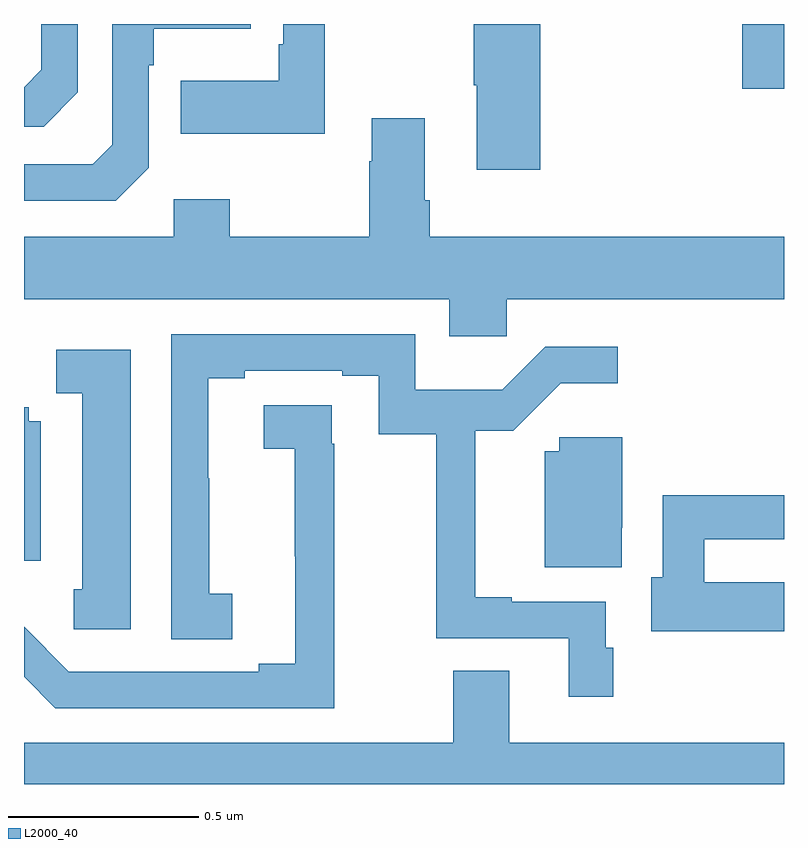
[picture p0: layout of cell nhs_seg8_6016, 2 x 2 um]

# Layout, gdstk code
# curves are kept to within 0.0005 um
import gdstk
lib = gdstk.Library(unit=1e-6, precision=1e-09)
def R(c, l, rs):  # rectangles x0, y0, x1, y1
    for r in rs: c.add(gdstk.rectangle(r[:2], r[2:], *l))
def P(c, l, *ps):  # polygons
    for p in ps: c.add(gdstk.Polygon(p, *l))
L2000_40 = (2000, 40)

nhs_seg8_6016 = lib.new_cell('nhs_seg8_6016')
R(nhs_seg8_6016, L2000_40, [(192.89,1107.729,193,1107.9)])
P(nhs_seg8_6016, L2000_40, [(191.328,1107.522),(191.328,1107.791),(191.341,1107.791),(191.341,1107.887),(191.597,1107.887),(191.597,1107.9),(191.232,1107.9),(191.232,1107.582),(191.181,1107.531),(191,1107.531),(191,1107.435),(191.241,1107.435)],
  [(192.359,1107.9),(192.184,1107.9),(192.184,1107.739),(192.191,1107.739),(192.191,1107.516),(192.359,1107.516)],
  [(191.142,1107.72),(191.142,1107.9),(191.046,1107.9),(191.046,1107.78),(191,1107.734),(191,1107.63),(191.052,1107.63)],
  [(191.791,1107.9),(191.682,1107.9),(191.682,1107.847),(191.67,1107.847),(191.67,1107.751),(191.413,1107.751),(191.413,1107.611),(191.791,1107.611)],
  [(192.119,1107.078),(192.271,1107.078),(192.271,1107.176),(193,1107.176),(193,1107.34),(192.068,1107.34),(192.068,1107.436),(192.055,1107.436),(192.055,1107.652),(191.915,1107.652),(191.915,1107.539),(191.908,1107.539),(191.908,1107.34),(191.541,1107.34),(191.541,1107.439),(191.394,1107.439),(191.394,1107.34),(191,1107.34),(191,1107.176),(192.119,1107.176)],
  [(192.551,1106.259),(192.531,1106.259),(192.531,1106.379),(192.283,1106.379),(192.283,1106.392),(192.188,1106.392),(192.188,1106.829),(192.287,1106.829),(192.413,1106.954),(192.562,1106.954),(192.562,1107.051),(192.372,1107.051),(192.259,1106.938),(192.03,1106.938),(192.03,1107.084),(191.388,1107.084),(191.388,1106.281),(191.548,1106.281),(191.548,1106.401),(191.487,1106.401),(191.487,1106.705),(191.485,1106.705),(191.485,1106.968),(191.581,1106.968),(191.581,1106.988),(191.837,1106.988),(191.837,1106.974),(191.934,1106.974),(191.934,1106.821),(192.085,1106.821),(192.085,1106.283),(192.434,1106.283),(192.434,1106.13),(192.551,1106.13)],
  [(191.281,1107.043),(191.085,1107.043),(191.085,1106.928),(191.153,1106.928),(191.153,1106.412),(191.131,1106.412),(191.131,1106.307),(191.281,1106.307)],
  [(191.816,1106.795),(191.81,1106.795),(191.81,1106.897),(191.631,1106.897),(191.631,1106.782),(191.713,1106.782),(191.714,1106.216),(191.618,1106.216),(191.618,1106.196),(191.118,1106.196),(191,1106.314),(191,1106.182),(191.082,1106.1),(191.816,1106.1)],
  [(191.044,1106.854),(191.012,1106.854),(191.012,1106.891),(191,1106.891),(191,1106.487),(191.044,1106.487)],
  [(192.573,1106.575),(192.574,1106.575),(192.574,1106.812),(192.408,1106.812),(192.408,1106.776),(192.371,1106.776),(192.371,1106.471),(192.573,1106.471)],
  [(193,1106.431),(192.79,1106.431),(192.79,1106.544),(193,1106.544),(193,1106.66),(192.681,1106.66),(192.681,1106.444),(192.651,1106.444),(192.651,1106.302),(193,1106.302)],
  [(193,1106.008),(192.277,1106.008),(192.277,1106.198),(192.13,1106.198),(192.13,1106.008),(191,1106.008),(191,1105.9),(193,1105.9)])

lib.write_gds('nhs_seg8_6016.gds')
